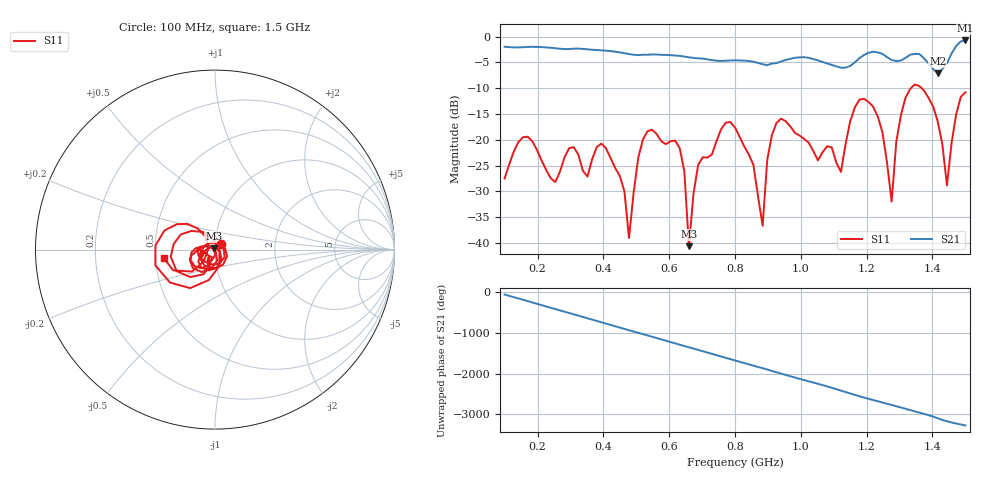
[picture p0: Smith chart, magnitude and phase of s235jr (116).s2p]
! NanoVNA-App
! Date: 2025-09-25 15:05:04
! Start: 100MHz Stop: 1,5GHz Points: 101
! S-Parameter data: F S11 S21 S12 S22
# Hz S RI R 50
!  Frequency  S11_Real  S11_Imag  S21_Real  S21_Imag  S12_Real  S12_Imag  S22_Real  S22_Imag
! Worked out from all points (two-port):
!   101 points, 100 MHz to 1.5 GHz, reference 50 ohm
!   highest |S21| = -0.75 dB at 1.5 GHz (marker M1); lowest = -7.1 dB at 1.416 GHz (marker M2)
!   |S21| within 3 dB of the highest: start of sweep to 633.2 MHz; 1.188 GHz to 1.257 GHz (69.11 MHz wide, 5.65 % of centre) (the widest 2 of 4)
!   lowest |S11| = -40.6 dB at 660 MHz (marker M3), VSWR 1.02, Z = 49.3 + j0.615 ohm
!   |S11| at or under -10 dB: start of sweep to 1.334 GHz; 1.367 GHz to end of sweep
!   S12 and S22 are empty: the file has one direction only
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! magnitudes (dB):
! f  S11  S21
! 100 MHz  -27.5  -2.0
! 170 MHz  -19.4  -2.0
! 338 MHz  -26.0  -2.4
! 408 MHz  -21.6  -2.7
! 478 MHz  -39.0  -3.4
! 520 MHz  -20.0  -3.5
! 576 MHz  -20.3  -3.5
! 632 MHz  -21.6  -3.7
! 660 MHz  -40.6  -4.0
! 688 MHz  -24.9  -4.2
! 800 MHz  -17.6  -4.6
! 884 MHz  -36.6  -5.3
! 926 MHz  -16.7  -5.1
! 1.038 GHz  -22.2  -4.3
! 1.122 GHz  -26.2  -6.0
! 1.192 GHz  -12.1  -3.6
! 1.248 GHz  -18.5  -3.4
! 1.276 GHz  -32.0  -4.6
! 1.332 GHz  -10.2  -3.5
! 1.416 GHz  -16.4  -7.1
! 1.444 GHz  -28.8  -5.2
! 1.5 GHz  -10.8  -0.7
